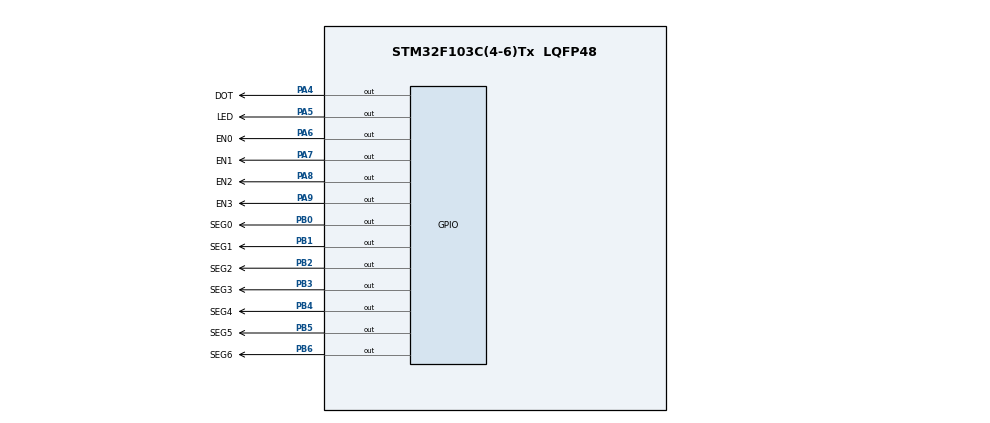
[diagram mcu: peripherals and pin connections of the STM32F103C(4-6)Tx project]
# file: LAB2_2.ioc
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Mcu.Family=STM32F1
Mcu.Name=STM32F103C(4-6)Tx
Mcu.Package=LQFP48
NVIC.PriorityGroup=NVIC_PRIORITYGROUP_4
NVIC.TIM2_IRQn=true\:0\:0\:false\:false\:true\:true\:true\:true
PA4.GPIO_Label=DOT
PA4.Signal=GPIO_Output
PA5.GPIO_Label=LED
PA5.Signal=GPIO_Output
PA6.GPIO_Label=EN0
PA6.Signal=GPIO_Output
PA7.GPIO_Label=EN1
PA7.Signal=GPIO_Output
PA8.GPIO_Label=EN2
PA8.Signal=GPIO_Output
PA9.GPIO_Label=EN3
PA9.Signal=GPIO_Output
PB0.GPIO_Label=SEG0
PB0.Signal=GPIO_Output
PB1.GPIO_Label=SEG1
PB1.Signal=GPIO_Output
PB2.GPIO_Label=SEG2
PB2.Signal=GPIO_Output
PB3.GPIO_Label=SEG3
PB3.Signal=GPIO_Output
PB4.GPIO_Label=SEG4
PB4.Signal=GPIO_Output
PB5.GPIO_Label=SEG5
PB5.Signal=GPIO_Output
PB6.GPIO_Label=SEG6
PB6.Signal=GPIO_Output
ProjectManager.HeapSize=0x200
ProjectManager.StackSize=0x400
ProjectManager.TargetToolchain=Makefile
RCC.APB1Freq_Value=8000000
RCC.APB2Freq_Value=8000000
TIM2.Period=9
TIM2.Prescaler=7999
VP_SYS_VS_ND.Mode=No_Debug
VP_TIM2_VS_ClockSourceINT.Mode=Internal
board=custom

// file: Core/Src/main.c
/* USER CODE BEGIN Header */
/**
 ******************************************************************************
 * @file           : main.c
 * @brief          : Main program body
 ******************************************************************************
 * @attention
 *
 * Copyright (c) 2023 STMicroelectronics.
 * All rights reserved.
 *
 * This software is licensed under terms that can be found in the LICENSE file
 * in the root directory of this software component.
 * If no LICENSE file comes with this software, it is provided AS-IS.
 *
 ******************************************************************************
 */
/* USER CODE END Header */
#include "main.h"

TIM_HandleTypeDef htim2;

void SystemClock_Config(void);
static void MX_GPIO_Init(void);
static void MX_TIM2_Init(void);

/* USER CODE BEGIN 0 */
GPIO_TypeDef *port[] = {EN0_GPIO_Port, EN1_GPIO_Port, EN2_GPIO_Port, EN3_GPIO_Port};
uint16_t pin[] = {EN0_Pin, EN1_Pin, EN2_Pin, EN3_Pin};
int num0[] = {0, 0, 0, 0, 0, 0, 1};
int num1[] = {1, 0, 0, 1, 1, 1, 1};
int num2[] = {0, 0, 1, 0, 0, 1, 0};
int num3[] = {0, 0, 0, 0, 1, 1, 0};
int num4[] = {1, 0, 0, 1, 1, 0, 0};
int num5[] = {0, 1, 0, 0, 1, 0, 0};
int num6[] = {0, 1, 0, 0, 0, 0, 0};
int num7[] = {0, 0, 0, 1, 1, 1, 1};
int num8[] = {0, 0, 0, 0, 0, 0, 0};
int num9[] = {0, 0, 0, 0, 1, 0, 0};
void displayNumber(int numberArr[])
{
  HAL_GPIO_WritePin(SEG0_GPIO_Port, SEG0_Pin, numberArr[0]);
  HAL_GPIO_WritePin(SEG1_GPIO_Port, SEG1_Pin, numberArr[1]);
  HAL_GPIO_WritePin(SEG2_GPIO_Port, SEG2_Pin, numberArr[2]);
  HAL_GPIO_WritePin(SEG3_GPIO_Port, SEG3_Pin, numberArr[3]);
  HAL_GPIO_WritePin(SEG4_GPIO_Port, SEG4_Pin, numberArr[4]);
  HAL_GPIO_WritePin(SEG5_GPIO_Port, SEG5_Pin, numberArr[5]);
  HAL_GPIO_WritePin(SEG6_GPIO_Port, SEG6_Pin, numberArr[6]);
}
void clearDisplay()
{
  HAL_GPIO_WritePin(SEG0_GPIO_Port, SEG0_Pin, 1);
  HAL_GPIO_WritePin(SEG1_GPIO_Port, SEG1_Pin, 1);
  HAL_GPIO_WritePin(SEG2_GPIO_Port, SEG2_Pin, 1);
  HAL_GPIO_WritePin(SEG3_GPIO_Port, SEG3_Pin, 1);
  HAL_GPIO_WritePin(SEG4_GPIO_Port, SEG4_Pin, 1);
  HAL_GPIO_WritePin(SEG5_GPIO_Port, SEG5_Pin, 1);
  HAL_GPIO_WritePin(SEG6_GPIO_Port, SEG6_Pin, 1);
}
void display7Seg(int num)
{
  switch (num)
  {
  case 0:
    displayNumber(num0);
    break;
  case 1:
    displayNumber(num1);
    break;
  case 2:
    displayNumber(num2);
    break;
  case 3:
    displayNumber(num3);
    break;
  case 4:
    displayNumber(num4);
    break;
  case 5:
    displayNumber(num5);
    break;
  case 6:
    displayNumber(num6);
    break;
  case 7:
    displayNumber(num7);
    break;
  case 8:
    displayNumber(num8);
    break;
  case 9:
    displayNumber(num9);
    break;
  }
}

/* USER CODE END 0 */

int main(void)
{

  /* MCU Configuration--------------------------------------------------------*/

  /* Reset of all peripherals, Initializes the Flash interface and the Systick. */
  HAL_Init();

  /* Configure the system clock */
  SystemClock_Config();

  /* Initialize all configured peripherals */
  MX_GPIO_Init();
  MX_TIM2_Init();
  /* USER CODE BEGIN 2 */
  HAL_TIM_Base_Start_IT(&htim2);
  clearDisplay();
  HAL_GPIO_WritePin(LED_GPIO_Port, LED_Pin, 0);

  HAL_GPIO_WritePin(EN0_GPIO_Port, EN0_Pin, 0);
  HAL_GPIO_WritePin(EN1_GPIO_Port, EN1_Pin, 1);
  HAL_GPIO_WritePin(EN2_GPIO_Port, EN2_Pin, 1);
  HAL_GPIO_WritePin(EN3_GPIO_Port, EN3_Pin, 1);
  HAL_GPIO_WritePin(DOT_GPIO_Port, DOT_Pin, 0);
  display7Seg(1);

  /* USER CODE END 2 */

  /* Infinite loop */
  while (1)
  {

  }
}

void SystemClock_Config(void)
{
  RCC_OscInitTypeDef RCC_OscInitStruct = {0};
  RCC_ClkInitTypeDef RCC_ClkInitStruct = {0};

  /** Initializes the RCC Oscillators according to the specified parameters
   * in the RCC_OscInitTypeDef structure.
   */
  RCC_OscInitStruct.OscillatorType = RCC_OSCILLATORTYPE_HSI;
  RCC_OscInitStruct.HSIState = RCC_HSI_ON;
  RCC_OscInitStruct.HSICalibrationValue = RCC_HSICALIBRATION_DEFAULT;
  RCC_OscInitStruct.PLL.PLLState = RCC_PLL_NONE;
  if (HAL_RCC_OscConfig(&RCC_OscInitStruct) != HAL_OK)
  {
    Error_Handler();
  }

  /** Initializes the CPU, AHB and APB buses clocks
   */
  RCC_ClkInitStruct.ClockType = RCC_CLOCKTYPE_HCLK | RCC_CLOCKTYPE_SYSCLK | RCC_CLOCKTYPE_PCLK1 | RCC_CLOCKTYPE_PCLK2;
  RCC_ClkInitStruct.SYSCLKSource = RCC_SYSCLKSOURCE_HSI;
  RCC_ClkInitStruct.AHBCLKDivider = RCC_SYSCLK_DIV1;
  RCC_ClkInitStruct.APB1CLKDivider = RCC_HCLK_DIV1;
  RCC_ClkInitStruct.APB2CLKDivider = RCC_HCLK_DIV1;

  if (HAL_RCC_ClockConfig(&RCC_ClkInitStruct, FLASH_LATENCY_0) != HAL_OK)
  {
    Error_Handler();
  }
}

static void MX_TIM2_Init(void)
{

  TIM_ClockConfigTypeDef sClockSourceConfig = {0};
  TIM_MasterConfigTypeDef sMasterConfig = {0};

  htim2.Instance = TIM2;
  htim2.Init.Prescaler = 7999;
  htim2.Init.CounterMode = TIM_COUNTERMODE_UP;
  htim2.Init.Period = 9;
  htim2.Init.ClockDivision = TIM_CLOCKDIVISION_DIV1;
  htim2.Init.AutoReloadPreload = TIM_AUTORELOAD_PRELOAD_DISABLE;
  if (HAL_TIM_Base_Init(&htim2) != HAL_OK)
  {
    Error_Handler();
  }
  sClockSourceConfig.ClockSource = TIM_CLOCKSOURCE_INTERNAL;
  if (HAL_TIM_ConfigClockSource(&htim2, &sClockSourceConfig) != HAL_OK)
  {
    Error_Handler();
  }
  sMasterConfig.MasterOutputTrigger = TIM_TRGO_RESET;
  sMasterConfig.MasterSlaveMode = TIM_MASTERSLAVEMODE_DISABLE;
  if (HAL_TIMEx_MasterConfigSynchronization(&htim2, &sMasterConfig) != HAL_OK)
  {
    Error_Handler();
  }
}

static void MX_GPIO_Init(void)
{
  GPIO_InitTypeDef GPIO_InitStruct = {0};

  /* GPIO Ports Clock Enable */
  __HAL_RCC_GPIOA_CLK_ENABLE();
  __HAL_RCC_GPIOB_CLK_ENABLE();

  /*Configure GPIO pin Output Level */
  HAL_GPIO_WritePin(GPIOA, DOT_Pin | LED_Pin | EN0_Pin | EN1_Pin | EN2_Pin | EN3_Pin, GPIO_PIN_RESET);

  /*Configure GPIO pin Output Level */
  HAL_GPIO_WritePin(GPIOB, SEG0_Pin | SEG1_Pin | SEG2_Pin | SEG3_Pin | SEG4_Pin | SEG5_Pin | SEG6_Pin, GPIO_PIN_RESET);

  /*Configure GPIO pins : DOT_Pin LED_Pin EN0_Pin EN1_Pin
                           EN2_Pin EN3_Pin */
  GPIO_InitStruct.Pin = DOT_Pin | LED_Pin | EN0_Pin | EN1_Pin | EN2_Pin | EN3_Pin;
  GPIO_InitStruct.Mode = GPIO_MODE_OUTPUT_PP;
  GPIO_InitStruct.Pull = GPIO_NOPULL;
  GPIO_InitStruct.Speed = GPIO_SPEED_FREQ_LOW;
  HAL_GPIO_Init(GPIOA, &GPIO_InitStruct);

  /*Configure GPIO pins : SEG0_Pin SEG1_Pin SEG2_Pin SEG3_Pin
                           SEG4_Pin SEG5_Pin SEG6_Pin */
  GPIO_InitStruct.Pin = SEG0_Pin | SEG1_Pin | SEG2_Pin | SEG3_Pin | SEG4_Pin | SEG5_Pin | SEG6_Pin;
  GPIO_InitStruct.Mode = GPIO_MODE_OUTPUT_PP;
  GPIO_InitStruct.Pull = GPIO_NOPULL;
  GPIO_InitStruct.Speed = GPIO_SPEED_FREQ_LOW;
  HAL_GPIO_Init(GPIOB, &GPIO_InitStruct);

}

/* USER CODE BEGIN 4 */
void toggleEnabled(int n)
{
  HAL_GPIO_WritePin(port[0], pin[0], 1);
  HAL_GPIO_WritePin(port[1], pin[1], 1);
  HAL_GPIO_WritePin(port[2], pin[2], 1);
  HAL_GPIO_WritePin(port[3], pin[3], 1);
  HAL_GPIO_WritePin(port[n], pin[n], 0);
}
int count = 50;
int enabledCount = 1;
int num = 2;
void HAL_TIM_PeriodElapsedCallback(TIM_HandleTypeDef *htim)
{
  count--;
  if (count <= 0)
  {
    count = 50;
    HAL_GPIO_TogglePin(LED_GPIO_Port, LED_Pin);
    toggleEnabled(enabledCount % 4);
    display7Seg(num % 4);
    enabledCount++;
    num++;
  }
}
/* USER CODE END 4 */

void Error_Handler(void)
{
  __disable_irq();
  while (1)
  {
  }
}
